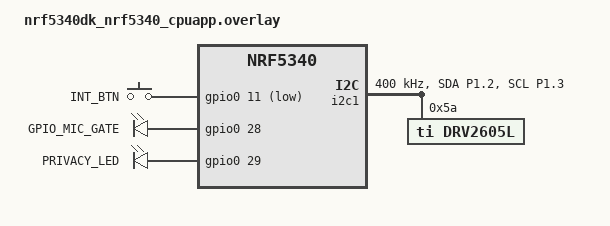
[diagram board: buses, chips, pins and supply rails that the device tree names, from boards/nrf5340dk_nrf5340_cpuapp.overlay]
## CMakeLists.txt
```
cmake_minimum_required(VERSION 3.20.0)

find_package(Zephyr REQUIRED HINTS $ENV{ZEPHYR_BASE})
project(aura_orbit VERSION 1.0.0 LANGUAGES C)

target_sources(app PRIVATE
    src/main.c
    src/ble_orbit_service.c
    src/privacy_gate.c
    src/haptic_driver.c
)

target_include_directories(app PRIVATE
    src
)

zephyr_library_include_directories(
    ${ZEPHYR_BASE}/include
    ${ZEPHYR_BASE}/include/zephyr
)
```

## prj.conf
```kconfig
# ─── Bluetooth ────────────────────────────────────────────────────────────────
CONFIG_BT=y
CONFIG_BT_PERIPHERAL=y
CONFIG_BT_DEVICE_NAME="AURA Orbit"
CONFIG_BT_DEVICE_NAME_DYNAMIC=n
CONFIG_BT_SMP=y
CONFIG_BT_SMP_SC_ONLY=y
CONFIG_BT_BONDABLE=y
CONFIG_BT_PRIVACY=y
CONFIG_BT_RPA_TIMEOUT=900
CONFIG_BT_GATT_DYNAMIC_DB=n
CONFIG_BT_MAX_CONN=1
CONFIG_BT_MAX_PAIRED=4
CONFIG_BT_L2CAP_TX_MTU=185
CONFIG_BT_BUF_ACL_TX_SIZE=201
CONFIG_BT_BUF_ACL_RX_SIZE=201

# ─── GPIO ──────────────────────────────────────────────────────────────────────
CONFIG_GPIO=y

# ─── I2C ──────────────────────────────────────────────────────────────────────
CONFIG_I2C=y

# ─── Power Management ─────────────────────────────────────────────────────────
CONFIG_PM=y
CONFIG_PM_DEVICE=y
CONFIG_PM_DEVICE_RUNTIME=y

# ─── Timers / Workqueues ──────────────────────────────────────────────────────
CONFIG_SYSTEM_WORKQUEUE_STACK_SIZE=4096

# ─── Logging ──────────────────────────────────────────────────────────────────
CONFIG_LOG=y
CONFIG_LOG_DEFAULT_LEVEL=3
CONFIG_LOG_BACKEND_UART=y

# ─── Main stack ───────────────────────────────────────────────────────────────
CONFIG_MAIN_STACK_SIZE=4096

# ─── Assert ───────────────────────────────────────────────────────────────────
CONFIG_ASSERT=y

# ─── NVS (bond storage) ───────────────────────────────────────────────────────
CONFIG_FLASH=y
CONFIG_FLASH_PAGE_LAYOUT=y
CONFIG_FLASH_MAP=y
CONFIG_NVS=y
CONFIG_SETTINGS=y
CONFIG_BT_SETTINGS=y

# ─── Entropy (TRNG for SMP) ───────────────────────────────────────────────────
CONFIG_ENTROPY_GENERATOR=y
CONFIG_TEST_RANDOM_GENERATOR=n
```

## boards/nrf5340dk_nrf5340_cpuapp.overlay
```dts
/*
 * AURA Orbit — nRF5340 DK Application Core board overlay
 *
 * Devicetree overlay for:
 *   - Tactile crescent dome switch (INT_BTN) on P0.11 (active-low, pull-up)
 *   - Microphone P-FET power gate (GPIO_MIC_GATE) on P0.28 (active-high)
 *   - Amber privacy LED ring (PRIVACY_LED) on P0.29 (active-high)
 *   - TI DRV2605L haptic driver on I2C1 @ 0x5A (400 kHz)
 */

/ {
	/*
	 * Aliases let application code reference nodes by stable names
	 * regardless of SoC-internal GPIO numbering.
	 */
	aliases {
		int-btn     = &button_crescent;
		mic-gate    = &mic_power_gate;
		privacy-led = &privacy_led_ring;
		haptic-drv  = &drv2605l;
	};

	/*
	 * Crescent dome button — hardware interrupt, active-low.
	 * GPIO_PULL_UP: internal pull-up so the line sits HIGH at rest.
	 */
	buttons {
		compatible = "gpio-keys";

		button_crescent: button_0 {
			label       = "INT_BTN";
			gpios       = <&gpio0 11 (GPIO_ACTIVE_LOW | GPIO_PULL_UP)>;
		};
	};

	/*
	 * Microphone P-FET power gate.
	 * Driving this pin HIGH enables the FET (powers the microphone).
	 * Default state: LOW (microphone off, privacy-safe boot).
	 */
	mic-power-gate {
		compatible = "gpio-leds";

		mic_power_gate: mic_gate_0 {
			label  = "GPIO_MIC_GATE";
			gpios  = <&gpio0 28 GPIO_ACTIVE_HIGH>;
		};
	};

	/*
	 * Amber privacy LED ring.
	 * Lit whenever the microphone gate is open.
	 */
	privacy-led {
		compatible = "gpio-leds";

		privacy_led_ring: led_0 {
			label  = "PRIVACY_LED";
			gpios  = <&gpio0 29 GPIO_ACTIVE_HIGH>;
		};
	};
};

/*
 * I2C1 bus — DRV2605L haptic driver at 400 kHz.
 *
 * On the nRF5340 DK:
 *   SDA → P1.02
 *   SCL → P1.03
 *
 * Adjust sda-pin / scl-pin for the production PCB if different.
 */
&i2c1 {
	compatible = "nordic,nrf-twim";
	status     = "okay";
	clock-frequency = <I2C_BITRATE_FAST>;   /* 400 kHz */

	pinctrl-0  = <&i2c1_default>;
	pinctrl-names = "default";

	drv2605l: drv2605l@5a {
		compatible = "ti,drv2605l";
		reg        = <0x5a>;
		label      = "DRV2605L";
	};
};

/*
 * Pin-control block — maps I2C1 signals to physical pads.
 */
&pinctrl {
	i2c1_default: i2c1_default {
		group1 {
			psels = <NRF_PSEL(TWIM_SDA, 1, 2)>,
			        <NRF_PSEL(TWIM_SCL, 1, 3)>;
		};
	};
};
```

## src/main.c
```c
/**
 * @file main.c
 * @brief AURA Orbit — system entry point
 *
 * Responsibilities:
 *   1. Initialise all subsystems (privacy gate, haptic driver, BLE service).
 *   2. Start BLE advertising with the Orbit service UUID in the AD payload.
 *   3. Run the tactile crescent button state machine:
 *        - Single click (< 400 ms hold, no prior click within 300 ms)
 *              → CMD_ACK: acknowledge / dismiss current notification.
 *        - Double click (second press within 300 ms of first release)
 *              → CMD_DISTRACTED (0x03): log distraction over BLE.
 *        - Long press (≥ 2000 ms hold)
 *              → CMD_FOCUS_START (0x01) + HAPTIC_EFFECT_FOCUS_START
 *                + open privacy gate.
 *   4. Handle incoming BLE focus commands from the mobile app.
 *   5. Handle incoming BLE notification packets (haptic playback).
 *   6. Put the CPU into low-power sleep between events.
 */

#include <zephyr/kernel.h>
#include <zephyr/device.h>
#include <zephyr/drivers/gpio.h>
#include <zephyr/bluetooth/bluetooth.h>
#include <zephyr/bluetooth/hci.h>
#include <zephyr/bluetooth/conn.h>
#include <zephyr/bluetooth/uuid.h>
#include <zephyr/pm/pm.h>
#include <zephyr/logging/log.h>

#include "ble_orbit_service.h"
#include "privacy_gate.h"
#include "haptic_driver.h"

LOG_MODULE_REGISTER(main, LOG_LEVEL_INF);

/* ─── Button GPIO ─────────────────────────────────────────────────────────────── */

#define BTN_NODE DT_ALIAS(int_btn)
static const struct gpio_dt_spec s_btn = GPIO_DT_SPEC_GET(BTN_NODE, gpios);
static struct gpio_callback       s_btn_cb_data;

/* ─── Button state machine ───────────────────────────────────────────────────── */

/*
 * Timing constants (milliseconds)
 *   LONG_PRESS_MS         — hold time required to trigger CMD_FOCUS_START
 *   DOUBLE_CLICK_MS       — maximum inter-click gap to count as a double-click
 *   DEBOUNCE_MS           — debounce window; ignore edges within this window
 *   BTN_ISR_FLOOD_LIMIT   — maximum ISR invocations allowed within
 *                           BTN_ISR_FLOOD_WINDOW_MS before the interrupt
 *                           handler is silenced (switch bounce / attack guard)
 *   BTN_ISR_FLOOD_WINDOW_MS — rolling window for the flood counter (ms)
 */
#define LONG_PRESS_MS           2000U
#define DOUBLE_CLICK_MS          300U
#define DEBOUNCE_MS               20U
#define BTN_ISR_FLOOD_LIMIT        8U   /* max edges per window                */
#define BTN_ISR_FLOOD_WINDOW_MS  200U   /* rolling window length (ms)          */

typedef enum {
    BTN_STATE_IDLE = 0,
    BTN_STATE_PRESSED,       /* Button is held down                          */
    BTN_STATE_FIRST_RELEASE, /* Waiting to see if a second press follows     */
} btn_state_t;

static volatile btn_state_t s_btn_state         = BTN_STATE_IDLE;
static int64_t              s_press_start_ms     = 0;
static int64_t              s_first_release_ms   = 0;
static bool                 s_long_press_handled = false;

/* ── ISR flood / bounce guard ──────────────────────────────────────────────
 * Tracks the number of GPIO edge interrupts inside a rolling window of
 * BTN_ISR_FLOOD_WINDOW_MS milliseconds.  If the count exceeds
 * BTN_ISR_FLOOD_LIMIT the interrupt handler discards additional edges until
 * the window has expired.  This prevents a malfunctioning or deliberately
 * chattering switch from spinning the CPU or injecting spurious commands.
 */
static int64_t s_flood_window_start_ms = 0;
static uint8_t s_flood_edge_count      = 0U;

/* Forward declarations */
static void btn_pressed_handler(const struct device *dev,
                                struct gpio_callback *cb, uint32_t pins);
static void long_press_work_handler(struct k_work *work);
static void double_click_expire_work_handler(struct k_work *work);

K_WORK_DELAYABLE_DEFINE(s_long_press_work,        long_press_work_handler);
K_WORK_DELAYABLE_DEFINE(s_double_click_expire_work, double_click_expire_work_handler);

/* ─── BLE advertising payload ────────────────────────────────────────────────── */

/*
 * Advertise with:
 *   - Flags (LE General Discoverable, BR/EDR not supported)
 *   - 128-bit service UUID so iOS/Android can filter by UUID before connecting
 *   - Device name in the scan response (keeps the AD payload compact)
 */
#define ORBIT_SVC_UUID_VAL \
    BT_UUID_128_ENCODE(0x12345678, 0x1234, 0x5678, 0x1234, 0x56789ABCDEF0)

static const struct bt_data s_ad[] = {
    BT_DATA_BYTES(BT_DATA_FLAGS, (BT_LE_AD_GENERAL | BT_LE_AD_NO_BREDR)),
    BT_DATA_BYTES(BT_DATA_UUID128_ALL, ORBIT_SVC_UUID_VAL),
};

static const struct bt_data s_sd[] = {
    BT_DATA(BT_DATA_NAME_COMPLETE,
            CONFIG_BT_DEVICE_NAME,
            sizeof(CONFIG_BT_DEVICE_NAME) - 1),
};

/* ─── Focus state ────────────────────────────────────────────────────────────── */

static bool s_focus_active = false;

/* ─── Privacy gate event handler ─────────────────────────────────────────────── */

static void on_privacy_gate_event(privacy_gate_evt_t evt)
{
    if (evt == PRIVACY_GATE_EVT_TIMEOUT) {
        LOG_WRN("Privacy auto-cutoff — notifying mobile app");
        /* Notify the mobile app so it can stop the session cleanly */
        (void)ble_orbit_notify_focus(EVT_SAFETY_TIMEOUT);
        s_focus_active = false;
    }
}

/* ─── BLE focus command handler (from mobile app) ────────────────────────────── */

static void on_focus_cmd(uint8_t command)
{
    LOG_INF("focus cmd: 0x%02x", command);

    switch (command) {
    case CMD_FOCUS_START:
        s_focus_active = true;
        (void)privacy_gate_open();
        (void)haptic_play(HAPTIC_EFFECT_FOCUS_START);
        break;

    case CMD_FOCUS_STOP:
        s_focus_active = false;
        (void)privacy_gate_close();
        (void)haptic_play(HAPTIC_EFFECT_ACK);
        break;

    case CMD_DISTRACTED:
        (void)haptic_play(HAPTIC_EFFECT_NUDGE);
        break;

    case CMD_UNDO:
        (void)haptic_play(HAPTIC_EFFECT_ACK);
        break;

    default:
        LOG_WRN("focus cmd: unknown command 0x%02x", command);
        break;
    }
}

/* ─── BLE notification packet handler (from mobile app) ──────────────────────── */

static void on_notif_packet(uint8_t pkt_type, uint8_t haptic_style,
                            const char *label, uint16_t label_len)
{
    ARG_UNUSED(label);
    ARG_UNUSED(label_len);

    haptic_effect_t effect;

    switch (haptic_style) {
    case HAPTIC_STYLE_BRIEF:
        effect = HAPTIC_EFFECT_NUDGE;
        break;
    case HAPTIC_STYLE_SUSTAINED:
        effect = HAPTIC_EFFECT_MEETING;
        break;
    case HAPTIC_STYLE_URGENT:
        effect = HAPTIC_EFFECT_URGENT;
        break;
    default:
        /* Unknown style — use nudge as a safe default */
        effect = HAPTIC_EFFECT_NUDGE;
        break;
    }

    /* Meeting alert overrides style selection for the sustained waveform */
    if (pkt_type == NOTIF_TYPE_MEETING_ALERT) {
        effect = HAPTIC_EFFECT_MEETING;
    }

    (void)haptic_play(effect);
}

/* ─── Button state machine implementation ────────────────────────────────────── */

/**
 * Long-press watchdog — fires LONG_PRESS_MS after button-press if still held.
 */
static void long_press_work_handler(struct k_work *work)
{
    ARG_UNUSED(work);

    /* Verify the button is still physically held */
    if (gpio_pin_get_dt(&s_btn) != 1) {
        return; /* Released before timer fired — not a long press */
    }

    if (s_long_press_handled) {
        return; /* Already dispatched */
    }
    s_long_press_handled = true;

    LOG_INF("Button: LONG PRESS → CMD_FOCUS_START");

    s_focus_active = true;
    (void)privacy_gate_open();
    (void)haptic_play(HAPTIC_EFFECT_FOCUS_START);
    (void)ble_orbit_notify_focus(CMD_FOCUS_START);
}

/**
 * Double-click expiry — fires DOUBLE_CLICK_MS after first release if no second
 * press has arrived, promoting the first click to a single-click.
 */
static void double_click_expire_work_handler(struct k_work *work)
{
    ARG_UNUSED(work);

    if (s_btn_state != BTN_STATE_FIRST_RELEASE) {
        return;
    }

    LOG_INF("Button: SINGLE CLICK → ACK/dismiss");
    s_btn_state = BTN_STATE_IDLE;

    /* Acknowledge notification — brief haptic feedback */
    (void)haptic_play(HAPTIC_EFFECT_ACK);
    /* No BLE notification for a simple dismiss; the mobile app drives focus state */
}

/**
 * GPIO interrupt handler — called on both edges (press and release).
 */
static void btn_pressed_handler(const struct device *dev,
                                struct gpio_callback *cb, uint32_t pins)
{
    ARG_UNUSED(dev);
    ARG_UNUSED(cb);
    ARG_UNUSED(pins);

    int level = gpio_pin_get_dt(&s_btn);
    int64_t now = k_uptime_get();

    /* ── Flood / bounce guard ───────────────────────────────────────────── */
    if ((now - s_flood_window_start_ms) >= (int64_t)BTN_ISR_FLOOD_WINDOW_MS) {
        /* Start a fresh rolling window. */
        s_flood_window_start_ms = now;
        s_flood_edge_count      = 0U;
    }
    s_flood_edge_count++;
    if (s_flood_edge_count > BTN_ISR_FLOOD_LIMIT) {
        LOG_WRN("btn_isr: edge flood detected (%u edges in %u ms) — edge discarded",
                s_flood_edge_count, BTN_ISR_FLOOD_WINDOW_MS);
        return;
    }

    if (level == 1) {
        /* ── PRESS ─────────────────────────────────────────────────────── */

        /* Debounce: ignore glitches within DEBOUNCE_MS of last release */
        if ((s_btn_state == BTN_STATE_FIRST_RELEASE) &&
            ((now - s_first_release_ms) < (int64_t)DEBOUNCE_MS)) {
            return;
        }
        /* Debounce: ignore double-trigger on press */
        if ((s_btn_state == BTN_STATE_PRESSED) &&
            ((now - s_press_start_ms) < (int64_t)DEBOUNCE_MS)) {
            return;
        }

        if (s_btn_state == BTN_STATE_FIRST_RELEASE) {
            /* ── DOUBLE CLICK detected ─────────────────────────────────── */
            k_work_cancel_delayable(&s_double_click_expire_work);
            s_btn_state = BTN_STATE_IDLE;

            LOG_INF("Button: DOUBLE CLICK → CMD_DISTRACTED");
            (void)haptic_play(HAPTIC_EFFECT_NUDGE);
            (void)ble_orbit_notify_focus(CMD_DISTRACTED);
        } else {
            /* ── First press ───────────────────────────────────────────── */
            s_btn_state          = BTN_STATE_PRESSED;
            s_press_start_ms     = now;
            s_long_press_handled = false;

            /* Arm the long-press watchdog */
            k_work_schedule(&s_long_press_work, K_MSEC(LONG_PRESS_MS));
        }

    } else {
        /* ── RELEASE ───────────────────────────────────────────────────── */

        if (s_btn_state != BTN_STATE_PRESSED) {
            return; /* Spurious release */
        }

        /* Cancel the long-press timer */
        k_work_cancel_delayable(&s_long_press_work);

        int64_t hold_ms = now - s_press_start_ms;
        s_first_release_ms = now;

        if (s_long_press_handled) {
            /* Long press already dispatched — return to idle silently */
            s_btn_state = BTN_STATE_IDLE;
        } else if (hold_ms >= (int64_t)LONG_PRESS_MS) {
            /* Edge case: very precise release exactly at threshold */
            s_btn_state          = BTN_STATE_IDLE;
            s_long_press_handled = true;
            LOG_INF("Button: LONG PRESS (release boundary) → CMD_FOCUS_START");
            s_focus_active = true;
            (void)privacy_gate_open();
            (void)haptic_play(HAPTIC_EFFECT_FOCUS_START);
            (void)ble_orbit_notify_focus(CMD_FOCUS_START);
        } else {
            /* Short press — wait for potential double-click */
            s_btn_state = BTN_STATE_FIRST_RELEASE;
            k_work_schedule(&s_double_click_expire_work, K_MSEC(DOUBLE_CLICK_MS));
        }
    }
}

/* ─── BLE advertising start ──────────────────────────────────────────────────── */

static void start_advertising(void)
{
    int ret = bt_le_adv_start(
        BT_LE_ADV_CONN,
        s_ad, ARRAY_SIZE(s_ad),
        s_sd, ARRAY_SIZE(s_sd)
    );
    if (ret && ret != -EALREADY) {
        LOG_ERR("Advertising start failed: %d", ret);
    } else {
        LOG_INF("BLE advertising started");
    }
}

/* Re-start advertising after disconnection */
static void on_bt_disconnected_adv(struct bt_conn *conn, uint8_t reason)
{
    ARG_UNUSED(conn);
    ARG_UNUSED(reason);
    start_advertising();
}

BT_CONN_CB_DEFINE(main_conn_cb) = {
    .disconnected = on_bt_disconnected_adv,
};

/* ─── Pairing / authentication callbacks ──────────────────────────────────────── */

static void auth_passkey_display(struct bt_conn *conn, unsigned int passkey)
{
    ARG_UNUSED(conn);
    LOG_INF("Passkey: %06u", passkey);
}

static void auth_cancel(struct bt_conn *conn)
{
    ARG_UNUSED(conn);
    LOG_WRN("Pairing cancelled");
}

static const struct bt_conn_auth_cb s_auth_cb = {
    .passkey_display = auth_passkey_display,
    .cancel          = auth_cancel,
};

/* ─── main() ─────────────────────────────────────────────────────────────────── */

int main(void)
{
    int ret;

    LOG_INF("AURA Orbit booting...");

    /* 1. Privacy gate — must come first; boots with mic OFF */
    ret = privacy_gate_init(on_privacy_gate_event);
    if (ret) {
        LOG_ERR("privacy_gate_init failed: %d", ret);
        return ret;
    }

    /* 2. Haptic driver */
    ret = haptic_driver_init();
    if (ret) {
        LOG_ERR("haptic_driver_init failed: %d", ret);
        return ret;
    }

    /* 3. Button GPIO — configure interrupt on both edges */
    if (!gpio_is_ready_dt(&s_btn)) {
        LOG_ERR("Button GPIO not ready");
        return -ENODEV;
    }
    ret = gpio_pin_configure_dt(&s_btn, GPIO_INPUT);
    if (ret) {
        LOG_ERR("Button configure failed: %d", ret);
        return ret;
    }
    ret = gpio_pin_interrupt_configure_dt(&s_btn, GPIO_INT_EDGE_BOTH);
    if (ret) {
        LOG_ERR("Button interrupt configure failed: %d", ret);
        return ret;
    }
    gpio_init_callback(&s_btn_cb_data, btn_pressed_handler, BIT(s_btn.pin));
    gpio_add_callback(s_btn.port, &s_btn_cb_data);
    LOG_INF("Button GPIO configured");

    /* 4. Bluetooth */
    ret = bt_enable(NULL);
    if (ret) {
        LOG_ERR("bt_enable failed: %d", ret);
        return ret;
    }

    ret = bt_conn_auth_cb_register(&s_auth_cb);
    if (ret) {
        LOG_ERR("bt_conn_auth_cb_register failed: %d", ret);
        return ret;
    }

    /* 5. GATT Orbit service */
    ret = ble_orbit_service_init(on_focus_cmd, on_notif_packet);
    if (ret) {
        LOG_ERR("ble_orbit_service_init failed: %d", ret);
        return ret;
    }

    /* 6. Start advertising */
    start_advertising();

    /* 7. Boot haptic — single ACK pulse to confirm successful init */
    (void)haptic_play(HAPTIC_EFFECT_ACK);

    LOG_INF("AURA Orbit ready");

    /*
     * Main loop — all work is event-driven via GPIO interrupts and BLE
     * callbacks submitted to the system workqueue.  Put the CPU to sleep
     * between events using Zephyr's power management idle entry.
     */
    while (1) {
        k_sleep(K_FOREVER);
    }

    return 0;
}
```

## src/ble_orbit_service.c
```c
/**
 * @file ble_orbit_service.c
 * @brief AURA Orbit custom GATT service implementation
 *
 * Service UUID:  12345678-1234-5678-1234-56789ABCDEF0
 * FOCUS_CHAR:    12345678-1234-5678-1234-56789ABCDEF1  (Read | Notify | Write)
 * NOTIF_CHAR:    12345678-1234-5678-1234-56789ABCDEF2  (WriteWithoutResponse)
 * BATTERY_CHAR:  12345678-1234-5678-1234-56789ABCDEF3  (Read | Notify)
 */

#include "ble_orbit_service.h"

#include <zephyr/kernel.h>
#include <zephyr/bluetooth/bluetooth.h>
#include <zephyr/bluetooth/hci.h>
#include <zephyr/bluetooth/conn.h>
#include <zephyr/bluetooth/uuid.h>
#include <zephyr/bluetooth/gatt.h>
#include <zephyr/logging/log.h>
#include <string.h>

LOG_MODULE_REGISTER(ble_orbit, LOG_LEVEL_INF);

/* ─── 128-bit UUIDs ─────────────────────────────────────────────────────────── */
/*
 * BT_UUID_128_ENCODE takes the five UUID fields in MSB-first order and produces
 * a little-endian byte array as required by bt_uuid_128.
 *
 * Service:   12345678-1234-5678-1234-56789ABCDEF0
 * Focus:     12345678-1234-5678-1234-56789ABCDEF1
 * Notif:     12345678-1234-5678-1234-56789ABCDEF2
 * Battery:   12345678-1234-5678-1234-56789ABCDEF3
 */
#define ORBIT_SVC_UUID_VAL \
    BT_UUID_128_ENCODE(0x12345678, 0x1234, 0x5678, 0x1234, 0x56789ABCDEF0)

#define ORBIT_FOCUS_UUID_VAL \
    BT_UUID_128_ENCODE(0x12345678, 0x1234, 0x5678, 0x1234, 0x56789ABCDEF1)

#define ORBIT_NOTIF_UUID_VAL \
    BT_UUID_128_ENCODE(0x12345678, 0x1234, 0x5678, 0x1234, 0x56789ABCDEF2)

#define ORBIT_BATTERY_UUID_VAL \
    BT_UUID_128_ENCODE(0x12345678, 0x1234, 0x5678, 0x1234, 0x56789ABCDEF3)

static struct bt_uuid_128 orbit_svc_uuid     = BT_UUID_INIT_128(ORBIT_SVC_UUID_VAL);
static struct bt_uuid_128 orbit_focus_uuid   = BT_UUID_INIT_128(ORBIT_FOCUS_UUID_VAL);
static struct bt_uuid_128 orbit_notif_uuid   = BT_UUID_INIT_128(ORBIT_NOTIF_UUID_VAL);
static struct bt_uuid_128 orbit_battery_uuid = BT_UUID_INIT_128(ORBIT_BATTERY_UUID_VAL);

/* ─── State ─────────────────────────────────────────────────────────────────── */

static orbit_focus_cmd_cb_t s_focus_cb;
static orbit_notif_cb_t     s_notif_cb;

/* Latest values kept in-memory for Read responses */
static uint8_t s_focus_value   = CMD_FOCUS_STOP;   /* last known focus state    */
static uint8_t s_battery_level = 100U;             /* 0–100                     */

/* GATT notification subscription tracking */
static bool s_focus_subscribed   = false;
static bool s_battery_subscribed = false;

/* Active connection handle (single-peripheral, one central) */
static struct bt_conn *s_conn = NULL;

/* ─── GATT read handlers ─────────────────────────────────────────────────────── */

static ssize_t on_focus_read(struct bt_conn *conn,
                             const struct bt_gatt_attr *attr,
                             void *buf, uint16_t len, uint16_t offset)
{
    ARG_UNUSED(conn);
    ARG_UNUSED(attr);
    return bt_gatt_attr_read(conn, attr, buf, len, offset,
                             &s_focus_value, sizeof(s_focus_value));
}

static ssize_t on_battery_read(struct bt_conn *conn,
                               const struct bt_gatt_attr *attr,
                               void *buf, uint16_t len, uint16_t offset)
{
    ARG_UNUSED(conn);
    ARG_UNUSED(attr);
    return bt_gatt_attr_read(conn, attr, buf, len, offset,
                             &s_battery_level, sizeof(s_battery_level));
}

/* ─── GATT write handlers ────────────────────────────────────────────────────── */

/**
 * FOCUS_CHAR write — mobile app sends CMD_FOCUS_START / CMD_FOCUS_STOP / etc.
 */
static ssize_t on_focus_write(struct bt_conn *conn,
                              const struct bt_gatt_attr *attr,
                              const void *buf, uint16_t len,
                              uint16_t offset, uint8_t flags)
{
    ARG_UNUSED(conn);
    ARG_UNUSED(attr);
    ARG_UNUSED(flags);

    if (offset != 0 || len < 1) {
        LOG_WRN("focus_write: bad offset=%u len=%u", offset, len);
        return BT_GATT_ERR(BT_ATT_ERR_INVALID_OFFSET);
    }

    const uint8_t *data = buf;
    uint8_t cmd = data[0];

    LOG_INF("focus_write: cmd=0x%02x", cmd);
    s_focus_value = cmd;

    if (s_focus_cb != NULL) {
        s_focus_cb(cmd);
    }

    return (ssize_t)len;
}

/**
 * NOTIF_CHAR write-without-response — mobile app pushes notification packets.
 * Packet layout: [0]=pkt_type [1]=haptic_style [2-3]=payload_len(LE) [4..n]=label
 */
static ssize_t on_notif_write(struct bt_conn *conn,
                              const struct bt_gatt_attr *attr,
                              const void *buf, uint16_t len,
                              uint16_t offset, uint8_t flags)
{
    ARG_UNUSED(conn);
    ARG_UNUSED(attr);
    ARG_UNUSED(flags);

    /*
     * Hard reject any packet that does not fit within the strict wire bounds.
     * Both checks are performed BEFORE any field access so that a malformed or
     * oversized packet from an untrusted BLE central cannot cause an out-of-
     * bounds read or a label-buffer overflow in this handler.
     *
     * Invariants enforced:
     *   1. len >= NOTIF_OFF_LABEL   — packet carries all header fields.
     *   2. len <= NOTIF_PKT_MAX_SIZE — packet never exceeds max label size.
     *   3. payload_len_field strictly bounded to [0, NOTIF_MAX_LABEL_BYTES]
     *      using the minimum of the wire-declared length, the actually-arrived
     *      label bytes, and the compiled constant — in that order.
     *   4. memcpy destination is label[NOTIF_MAX_LABEL_BYTES+1]: the index
     *      payload_len can never exceed NOTIF_MAX_LABEL_BYTES, so the
     *      null-terminator write at label[payload_len] is always within bounds.
     */
    if (offset != 0 || len < NOTIF_OFF_LABEL) {
        LOG_WRN("notif_write: packet too short: %u bytes", len);
        return (ssize_t)len; /* WriteWithoutResponse — ignore silently */
    }

    if (len > NOTIF_PKT_MAX_SIZE) {
        LOG_WRN("notif_write: packet too large: %u bytes (max %u)",
                len, NOTIF_PKT_MAX_SIZE);
        return (ssize_t)len;
    }

    const uint8_t *pkt     = buf;
    uint8_t  pkt_type      = pkt[NOTIF_OFF_PKT_TYPE];
    uint8_t  haptic_style  = pkt[NOTIF_OFF_HAPTIC_STYL];

    /*
     * Read the wire-declared payload length from the two-byte LE field.
     * Then clamp it to the minimum of:
     *   (a) the number of label bytes that actually arrived in this ATT PDU,
     *   (b) the compiled maximum label constant NOTIF_MAX_LABEL_BYTES.
     * This triple-clamp prevents a crafted length field from causing a
     * read beyond the received buffer or an overflow of the label array.
     */
    uint16_t payload_len_field = (uint16_t)pkt[NOTIF_OFF_PAYLOAD_LEN] |
                                 ((uint16_t)pkt[NOTIF_OFF_PAYLOAD_LEN + 1U] << 8U);

    uint16_t actual_label_len = (uint16_t)(len - NOTIF_OFF_LABEL);

    /* Step 1: clamp wire-declared length to what actually arrived. */
    uint16_t payload_len = (payload_len_field < actual_label_len)
                            ? payload_len_field : actual_label_len;

    /* Step 2: hard-cap to the compiled constant — prevents any future path
     * where NOTIF_MAX_LABEL_BYTES changes independently of this function. */
    if (payload_len > NOTIF_MAX_LABEL_BYTES) {
        payload_len = NOTIF_MAX_LABEL_BYTES;
    }

    /* Build null-terminated label for the callback.
     * payload_len <= NOTIF_MAX_LABEL_BYTES, so label[payload_len] is valid. */
    char label[NOTIF_MAX_LABEL_BYTES + 1U];
    memcpy(label, &pkt[NOTIF_OFF_LABEL], payload_len);
    label[payload_len] = '\0';

    LOG_INF("notif_write: type=0x%02x style=0x%02x label='%s'",
            pkt_type, haptic_style, label);

    if (s_notif_cb != NULL) {
        s_notif_cb(pkt_type, haptic_style, label, payload_len);
    }

    return (ssize_t)len;
}

/* ─── CCC changed (subscription tracking) ───────────────────────────────────── */

static void on_focus_ccc_changed(const struct bt_gatt_attr *attr, uint16_t value)
{
    ARG_UNUSED(attr);
    s_focus_subscribed = (value == BT_GATT_CCC_NOTIFY);
    LOG_INF("focus notify %s", s_focus_subscribed ? "enabled" : "disabled");
}

static void on_battery_ccc_changed(const struct bt_gatt_attr *attr, uint16_t value)
{
    ARG_UNUSED(attr);
    s_battery_subscribed = (value == BT_GATT_CCC_NOTIFY);
    LOG_INF("battery notify %s", s_battery_subscribed ? "enabled" : "disabled");
}

/* ─── GATT service definition ────────────────────────────────────────────────── */

BT_GATT_SERVICE_DEFINE(orbit_svc,
    /* Primary service declaration */
    BT_GATT_PRIMARY_SERVICE(&orbit_svc_uuid),

    /* FOCUS_CHAR — Read | Notify | Write */
    BT_GATT_CHARACTERISTIC(&orbit_focus_uuid.uuid,
                           BT_GATT_CHRC_READ | BT_GATT_CHRC_NOTIFY | BT_GATT_CHRC_WRITE,
                           BT_GATT_PERM_READ | BT_GATT_PERM_WRITE,
                           on_focus_read, on_focus_write, NULL),
    BT_GATT_CCC(on_focus_ccc_changed,
                BT_GATT_PERM_READ | BT_GATT_PERM_WRITE),

    /* NOTIF_CHAR — WriteWithoutResponse */
    BT_GATT_CHARACTERISTIC(&orbit_notif_uuid.uuid,
                           BT_GATT_CHRC_WRITE_WITHOUT_RESP,
                           BT_GATT_PERM_WRITE,
                           NULL, on_notif_write, NULL),

    /* BATTERY_CHAR — Read | Notify */
    BT_GATT_CHARACTERISTIC(&orbit_battery_uuid.uuid,
                           BT_GATT_CHRC_READ | BT_GATT_CHRC_NOTIFY,
                           BT_GATT_PERM_READ,
                           on_battery_read, NULL, NULL),
    BT_GATT_CCC(on_battery_ccc_changed,
                BT_GATT_PERM_READ | BT_GATT_PERM_WRITE),
);

/* ─── Connection callbacks (track active conn for notifications) ─────────────── */

static void on_connected(struct bt_conn *conn, uint8_t err)
{
    if (err) {
        LOG_ERR("BLE connect failed: %u", err);
        return;
    }
    s_conn = bt_conn_ref(conn);
    s_focus_subscribed   = false;
    s_battery_subscribed = false;
    LOG_INF("BLE connected");
}

static void on_disconnected(struct bt_conn *conn, uint8_t reason)
{
    ARG_UNUSED(reason);
    if (s_conn == conn) {
        bt_conn_unref(s_conn);
        s_conn               = NULL;
        s_focus_subscribed   = false;
        s_battery_subscribed = false;
    }
    LOG_INF("BLE disconnected (reason 0x%02x)", reason);
}

static void on_security_changed(struct bt_conn *conn, bt_security_t level,
                                enum bt_security_err err)
{
    ARG_UNUSED(conn);
    if (err) {
        LOG_ERR("Security update failed: level %u err %d", (unsigned)level, err);
    } else {
        LOG_INF("Security level: %u", (unsigned)level);
    }
}

BT_CONN_CB_DEFINE(orbit_conn_cb) = {
    .connected        = on_connected,
    .disconnected     = on_disconnected,
    .security_changed = on_security_changed,
};

/* ─── Public API ─────────────────────────────────────────────────────────────── */

int ble_orbit_service_init(orbit_focus_cmd_cb_t focus_cb,
                           orbit_notif_cb_t     notif_cb)
{
    s_focus_cb   = focus_cb;
    s_notif_cb   = notif_cb;
    s_focus_value   = CMD_FOCUS_STOP;
    s_battery_level = 100U;
    LOG_INF("Orbit BLE service initialised");
    return 0;
}

int ble_orbit_notify_focus(uint8_t command)
{
    if (!s_focus_subscribed || s_conn == NULL) {
        return -ENOTCONN;
    }

    s_focus_value = command;

    /* Locate the FOCUS_CHAR value attribute (index 1 in the service table) */
    const struct bt_gatt_attr *attr = &orbit_svc.attrs[2]; /* value attr after decl */
    int ret = bt_gatt_notify(s_conn, attr, &command, sizeof(command));
    if (ret) {
        LOG_ERR("focus notify failed: %d", ret);
    }
    return ret;
}

int ble_orbit_set_battery_level(uint8_t level)
{
    s_battery_level = MIN(level, 100U);

    if (!s_battery_subscribed || s_conn == NULL) {
        return -ENOTCONN;
    }

    /* Battery value attr is at index 7 (after svc decl, 2×focus attrs+CCC, notif, bat decl) */
    const struct bt_gatt_attr *attr = &orbit_svc.attrs[8];
    int ret = bt_gatt_notify(s_conn, attr, &s_battery_level, sizeof(s_battery_level));
    if (ret) {
        LOG_ERR("battery notify failed: %d", ret);
    }
    return ret;
}
```

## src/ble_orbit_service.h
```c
/**
 * @file ble_orbit_service.h
 * @brief AURA Orbit custom GATT service — public API
 *
 * Exposes the three AURA Orbit characteristics over BLE 5.4 Secure Connections:
 *
 *   FOCUS_CHAR    (Read | Notify | Write)      — focus state + button commands
 *   NOTIF_CHAR    (WriteWithoutResponse)        — inbound haptic notification packets
 *   BATTERY_CHAR  (Read | Notify)              — battery level 0–100
 *
 * UUID base: 12345678-1234-5678-1234-56789ABCDEF0
 */

#ifndef BLE_ORBIT_SERVICE_H
#define BLE_ORBIT_SERVICE_H

#include <zephyr/kernel.h>
#include <zephyr/bluetooth/bluetooth.h>
#include <zephyr/bluetooth/gatt.h>
#include <stdint.h>
#include <stdbool.h>

#ifdef __cplusplus
extern "C" {
#endif

/* ─── Wire constants — must stay in sync with mobile/src/services/BLEService.ts ─ */

/** Commands written by the mobile app to FOCUS_CHAR, or notified by Orbit. */
#define CMD_FOCUS_START    0x01U
#define CMD_FOCUS_STOP     0x02U
#define CMD_DISTRACTED     0x03U
#define CMD_UNDO           0x04U
#define EVT_SAFETY_TIMEOUT 0x10U

/** Notification packet offsets (NOTIF_CHAR write-without-response payload). */
#define NOTIF_OFF_PKT_TYPE    0U
#define NOTIF_OFF_HAPTIC_STYL 1U
#define NOTIF_OFF_PAYLOAD_LEN 2U   /* uint16 LE */
#define NOTIF_OFF_LABEL       4U
#define NOTIF_MAX_LABEL_BYTES 28U
#define NOTIF_PKT_MAX_SIZE    (NOTIF_OFF_LABEL + NOTIF_MAX_LABEL_BYTES)

/** Packet types */
#define NOTIF_TYPE_MEETING_ALERT 0x01U
#define NOTIF_TYPE_NUDGE         0x02U
#define NOTIF_TYPE_GENERIC       0x03U

/** Haptic style codes */
#define HAPTIC_STYLE_BRIEF     0x01U
#define HAPTIC_STYLE_SUSTAINED 0x02U
#define HAPTIC_STYLE_URGENT    0x03U

/* ─── Callback types ────────────────────────────────────────────────────────── */

/**
 * @brief Called when the mobile app writes a focus command to FOCUS_CHAR.
 *
 * @param command  One of CMD_FOCUS_START, CMD_FOCUS_STOP, CMD_DISTRACTED, CMD_UNDO.
 */
typedef void (*orbit_focus_cmd_cb_t)(uint8_t command);

/**
 * @brief Called when a valid notification packet is received on NOTIF_CHAR.
 *
 * @param pkt_type     Packet type (NOTIF_TYPE_*).
 * @param haptic_style Haptic style (HAPTIC_STYLE_*).
 * @param label        Null-terminated UTF-8 label (max NOTIF_MAX_LABEL_BYTES).
 * @param label_len    Number of valid bytes in @p label.
 */
typedef void (*orbit_notif_cb_t)(uint8_t pkt_type, uint8_t haptic_style,
                                 const char *label, uint16_t label_len);

/* ─── Public API ────────────────────────────────────────────────────────────── */

/**
 * @brief Initialise the Orbit GATT service and register application callbacks.
 *
 * Must be called once before BLE advertising starts.
 *
 * @param focus_cb  Callback invoked on FOCUS_CHAR write (may be NULL).
 * @param notif_cb  Callback invoked on NOTIF_CHAR write (may be NULL).
 * @return 0 on success, negative errno on failure.
 */
int ble_orbit_service_init(orbit_focus_cmd_cb_t focus_cb,
                           orbit_notif_cb_t     notif_cb);

/**
 * @brief Send a focus command notification to the connected mobile app.
 *
 * Triggers a GATT notification on FOCUS_CHAR.  No-op if the central has not
 * subscribed or no connection is active.
 *
 * @param command  One of CMD_FOCUS_START … EVT_SAFETY_TIMEOUT.
 * @return 0 on success, -ENOTCONN if no subscriber, other negative errno.
 */
int ble_orbit_notify_focus(uint8_t command);

/**
 * @brief Update the battery level and optionally notify the connected central.
 *
 * @param level  Battery percentage, clamped to [0, 100].
 * @return 0 on success, -ENOTCONN if no subscriber, other negative errno.
 */
int ble_orbit_set_battery_level(uint8_t level);

#ifdef __cplusplus
}
#endif

#endif /* BLE_ORBIT_SERVICE_H */
```

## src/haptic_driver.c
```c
/**
 * @file haptic_driver.c
 * @brief TI DRV2605L I2C haptic driver implementation
 *
 * Drives a 170 Hz LRA via the DRV2605L ROM waveform library (LRA library = 6).
 *
 * DRV2605L ROM waveforms used (from TI datasheet Table 3, LRA column):
 *   Effect 1  — Strong Click 100% (index  1) — crisp single pulse
 *   Effect 10 — Double Click 100% (index 10) — double pulse
 *   Effect 14 — Triple Click     (index 14) — triple burst
 *   Effect 47 — Long Alert 2     (index 47) — sustained 3-pulse sequence
 *   Effect 56 — Transition Ramp Up Long     — ramp confirmation
 *   Effect 58 — Short Buzz 100%  (index 58) — soft nudge
 *
 * All sequences terminate with DRV2605L_WAVESEQ_STOP (0x00) in the next slot.
 */

#include "haptic_driver.h"

#include <zephyr/kernel.h>
#include <zephyr/device.h>
#include <zephyr/drivers/i2c.h>
#include <zephyr/logging/log.h>

LOG_MODULE_REGISTER(haptic_drv, LOG_LEVEL_INF);

/* ─── I2C device binding ─────────────────────────────────────────────────────── */

#define DRV2605L_I2C_NODE DT_ALIAS(haptic_drv)

static const struct i2c_dt_spec s_i2c =
    I2C_DT_SPEC_GET(DRV2605L_I2C_NODE);

/* ─── Low-level I2C helpers ──────────────────────────────────────────────────── */

static int drv_write_reg(uint8_t reg, uint8_t val)
{
    uint8_t buf[2] = { reg, val };
    int ret = i2c_write_dt(&s_i2c, buf, sizeof(buf));
    if (ret) {
        LOG_ERR("drv2605l: write reg 0x%02x = 0x%02x failed: %d", reg, val, ret);
    }
    return ret;
}

static int drv_read_reg(uint8_t reg, uint8_t *out)
{
    int ret = i2c_write_read_dt(&s_i2c, &reg, 1, out, 1);
    if (ret) {
        LOG_ERR("drv2605l: read reg 0x%02x failed: %d", reg, ret);
    }
    return ret;
}

/* ─── Effect waveform table ──────────────────────────────────────────────────── */
/*
 * Each row: up to 8 waveform slots; 0x00 terminates the sequence early.
 * ROM indices are from TI DRV2605L datasheet, Table 3, LRA library (lib=6).
 */

#define SEQ_LEN 8U

typedef struct {
    uint8_t slots[SEQ_LEN]; /* waveform ROM indices, 0x00 = end-of-sequence */
} haptic_seq_t;

static const haptic_seq_t s_effects[] = {
    /* HAPTIC_EFFECT_FOCUS_START — Double Click (10) + brief pause + Strong Click (1) */
    [HAPTIC_EFFECT_FOCUS_START] = { .slots = { 10U, 1U, 0x00 } },

    /* HAPTIC_EFFECT_MEETING — Long Alert 2 (47): internal 3-pulse sustained sequence */
    [HAPTIC_EFFECT_MEETING]     = { .slots = { 47U, 0x00 } },

    /* HAPTIC_EFFECT_NUDGE — Short Buzz 100% (58): soft single tap */
    [HAPTIC_EFFECT_NUDGE]       = { .slots = { 58U, 0x00 } },

    /* HAPTIC_EFFECT_URGENT — Triple Click (14) + Strong Click (1) */
    [HAPTIC_EFFECT_URGENT]      = { .slots = { 14U, 1U, 0x00 } },

    /* HAPTIC_EFFECT_ACK — Strong Click 100% (1): crisp feedback */
    [HAPTIC_EFFECT_ACK]         = { .slots = { 1U, 0x00 } },
};

#define NUM_EFFECTS (sizeof(s_effects) / sizeof(s_effects[0]))

/* ─── Initialisation ─────────────────────────────────────────────────────────── */

int haptic_driver_init(void)
{
    int ret;

    if (!i2c_is_ready_dt(&s_i2c)) {
        LOG_ERR("DRV2605L I2C bus not ready");
        return -ENODEV;
    }

    /* Read STATUS register — verifies I2C comms and that DEV_ID = 0b111 (DRV2605L) */
    uint8_t status = 0U;
    ret = drv_read_reg(DRV2605L_REG_STATUS, &status);
    if (ret) {
        return ret;
    }
    LOG_INF("DRV2605L status=0x%02x", status);

    /* Wake from standby: clear bit 6 in MODE, set to Internal Trigger */
    ret = drv_write_reg(DRV2605L_REG_MODE, DRV2605L_MODE_INTERNAL_TRIG);
    if (ret) {
        return ret;
    }

    /*
     * Select LRA library (0x06).
     * Bits [2:0] = 0b110 → Library F (LRA) in the DRV2605 register map.
     */
    ret = drv_write_reg(DRV2605L_REG_LIBRARY, DRV2605L_LIB_LRA);
    if (ret) {
        return ret;
    }

    /*
     * FEEDBACK register: LRA mode
     * Bit 7 = 1 → LRA (not ERM)
     * Bits [6:4] = 0b011 → BRAKE_FACTOR = 3×
     * Bits [3:2] = 0b01  → LOOP_GAIN = medium
     * Default BEMF_GAIN[1:0] = 0b11
     */
    ret = drv_write_reg(DRV2605L_REG_FEEDBACK, 0xB3U);
    if (ret) {
        return ret;
    }

    /*
     * CONTROL1: drive_time tuned for 170 Hz LRA.
     * drive_time = (1 / (2 * f_LRA)) / 24.39 µs ≈ 12 → 0x0C
     * Bit 7 = 0 (startup boost disabled for LRA)
     */
    ret = drv_write_reg(DRV2605L_REG_CONTROL1, 0x93U); /* AC_COUPLE=1 | DRIVE_TIME=12 */
    if (ret) {
        return ret;
    }

    /*
     * CONTROL3: LRA open-loop disabled, auto-resonance enabled.
     * Bit 0 = 0 → closed-loop (auto-resonance tracking)
     */
    ret = drv_write_reg(DRV2605L_REG_CONTROL3, 0x20U);
    if (ret) {
        return ret;
    }

    LOG_INF("DRV2605L initialised for LRA @ 170 Hz");
    return 0;
}

/* ─── Playback ───────────────────────────────────────────────────────────────── */

int haptic_play(haptic_effect_t effect)
{
    if ((unsigned)effect >= NUM_EFFECTS) {
        LOG_ERR("haptic_play: unknown effect %d", (int)effect);
        return -EINVAL;
    }

    const haptic_seq_t *seq = &s_effects[effect];
    int ret;

    /* Wake from standby if needed — write Internal Trigger mode first */
    ret = drv_write_reg(DRV2605L_REG_MODE, DRV2605L_MODE_INTERNAL_TRIG);
    if (ret) {
        return ret;
    }

    /* Load waveform sequence into WAVESEQ1..WAVESEQ8 */
    for (uint8_t i = 0U; i < SEQ_LEN; i++) {
        ret = drv_write_reg((uint8_t)(DRV2605L_REG_WAVESEQ1 + i), seq->slots[i]);
        if (ret) {
            return ret;
        }
        if (seq->slots[i] == DRV2605L_WAVESEQ_STOP) {
            /* Fill remaining slots with STOP to prevent stale data replaying */
            for (uint8_t j = (uint8_t)(i + 1U); j < SEQ_LEN; j++) {
                (void)drv_write_reg((uint8_t)(DRV2605L_REG_WAVESEQ1 + j),
                                    DRV2605L_WAVESEQ_STOP);
            }
            break;
        }
    }

    /* Set GO bit to start playback */
    ret = drv_write_reg(DRV2605L_REG_GO, DRV2605L_GO);
    if (ret) {
        return ret;
    }

    LOG_INF("haptic_play: effect=%d", (int)effect);
    return 0;
}

int haptic_stop(void)
{
    /* Clear GO bit — chip stops immediately */
    int ret = drv_write_reg(DRV2605L_REG_GO, 0x00U);
    if (ret) {
        LOG_ERR("haptic_stop: failed: %d", ret);
    }
    return ret;
}

int haptic_standby(void)
{
    int ret = drv_write_reg(DRV2605L_REG_MODE, DRV2605L_MODE_STANDBY);
    if (ret) {
        LOG_ERR("haptic_standby: failed: %d", ret);
    } else {
        LOG_DBG("DRV2605L in standby");
    }
    return ret;
}

int haptic_wake(void)
{
    int ret = drv_write_reg(DRV2605L_REG_MODE, DRV2605L_MODE_INTERNAL_TRIG);
    if (ret) {
        LOG_ERR("haptic_wake: failed: %d", ret);
    } else {
        LOG_DBG("DRV2605L awake");
    }
    return ret;
}
```

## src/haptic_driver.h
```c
/**
 * @file haptic_driver.h
 * @brief TI DRV2605L haptic driver — public API
 *
 * Controls the TI DRV2605L I2C haptic driver connected to a 170 Hz Linear
 * Resonant Actuator (LRA).  Exposes three named waveform sequences that map
 * directly onto the AURA notification packet haptic styles:
 *
 *   HAPTIC_EFFECT_FOCUS_START  — firm double-pulse confirming focus session open
 *   HAPTIC_EFFECT_MEETING      — sustained alert sequence for meeting notifications
 *   HAPTIC_EFFECT_NUDGE        — brief single-tap nudge
 *   HAPTIC_EFFECT_URGENT       — rapid triple-pulse for urgent alerts
 *   HAPTIC_EFFECT_ACK          — soft single click for button acknowledge
 *
 * I2C address: 0x5A (DRV2605L default, SDO tied LOW).
 * Bus speed: 400 kHz (configured in the board overlay).
 */

#ifndef HAPTIC_DRIVER_H
#define HAPTIC_DRIVER_H

#include <zephyr/kernel.h>
#include <stdint.h>

#ifdef __cplusplus
extern "C" {
#endif

/* ─── DRV2605L register map (subset required) ───────────────────────────────── */
#define DRV2605L_REG_STATUS       0x00U
#define DRV2605L_REG_MODE         0x01U
#define DRV2605L_REG_RTP          0x02U
#define DRV2605L_REG_LIBRARY      0x03U
#define DRV2605L_REG_WAVESEQ1     0x04U
#define DRV2605L_REG_WAVESEQ2     0x05U
#define DRV2605L_REG_WAVESEQ3     0x06U
#define DRV2605L_REG_WAVESEQ4     0x07U
#define DRV2605L_REG_WAVESEQ5     0x08U
#define DRV2605L_REG_WAVESEQ6     0x09U
#define DRV2605L_REG_WAVESEQ7     0x0AU
#define DRV2605L_REG_WAVESEQ8     0x0BU
#define DRV2605L_REG_GO           0x0CU
#define DRV2605L_REG_CONTROL1     0x1BU
#define DRV2605L_REG_CONTROL3     0x1DU
#define DRV2605L_REG_LRARESON     0x20U  /* LRA resonance period */
#define DRV2605L_REG_FEEDBACK     0x1AU

/* MODE register values */
#define DRV2605L_MODE_INTERNAL_TRIG 0x00U
#define DRV2605L_MODE_PWM_ANALOG    0x02U
#define DRV2605L_MODE_STANDBY       0x40U

/* Library selection: 6 = LRA library */
#define DRV2605L_LIB_LRA          0x06U

/* Waveform sequence end-of-sequence marker */
#define DRV2605L_WAVESEQ_STOP     0x00U

/* GO bit */
#define DRV2605L_GO               0x01U

/* ─── Named haptic effects ──────────────────────────────────────────────────── */

typedef enum {
    HAPTIC_EFFECT_FOCUS_START = 0, /**< Double-pulse — focus session started.  */
    HAPTIC_EFFECT_MEETING,         /**< Sustained 3-pulse — meeting alert.     */
    HAPTIC_EFFECT_NUDGE,           /**< Brief single tap — nudge notification. */
    HAPTIC_EFFECT_URGENT,          /**< Rapid triple-pulse — urgent alert.     */
    HAPTIC_EFFECT_ACK,             /**< Soft click — button acknowledge.       */
} haptic_effect_t;

/* ─── Public API ────────────────────────────────────────────────────────────── */

/**
 * @brief Initialise and configure the DRV2605L for LRA operation.
 *
 * Brings the chip out of standby, selects the LRA library, and configures
 * the internal trigger mode ready for waveform playback.
 *
 * @return 0 on success, negative errno on I2C failure.
 */
int haptic_driver_init(void);

/**
 * @brief Play a named haptic effect.
 *
 * Loads the waveform sequence for @p effect into the DRV2605L WAVESEQ
 * registers and sets the GO bit.  The function returns immediately; the
 * chip plays the sequence autonomously.
 *
 * @param effect  Named effect to play.
 * @return 0 on success, negative errno on I2C failure or unknown effect.
 */
int haptic_play(haptic_effect_t effect);

/**
 * @brief Stop any currently playing waveform immediately.
 *
 * Clears the GO bit and puts the chip back to idle (not standby).
 *
 * @return 0 on success, negative errno on I2C failure.
 */
int haptic_stop(void);

/**
 * @brief Put the DRV2605L into standby mode (lowest power state).
 *
 * @return 0 on success, negative errno on I2C failure.
 */
int haptic_standby(void);

/**
 * @brief Wake the DRV2605L from standby.
 *
 * @return 0 on success, negative errno on I2C failure.
 */
int haptic_wake(void);

#ifdef __cplusplus
}
#endif

#endif /* HAPTIC_DRIVER_H */
```

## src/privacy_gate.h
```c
/**
 * @file privacy_gate.h
 * @brief AURA Orbit hardware privacy interlock — public API
 *
 * Enforces two immutable privacy rules:
 *
 *  1. HARDWARE AUTO-CUTOFF: The microphone P-FET gate is driven LOW automatically
 *     30 seconds after it was opened, regardless of application state.
 *
 *  2. ZERO AMBIENT STORAGE: No audio data is stored when the gate is closed.
 *     The gate may only be opened when an explicit focus session is active.
 *
 * The amber privacy LED ring mirrors the gate state in hardware: ON when the
 * microphone is powered, OFF otherwise.
 */

#ifndef PRIVACY_GATE_H
#define PRIVACY_GATE_H

#include <zephyr/kernel.h>
#include <stdbool.h>
#include <stdint.h>

#ifdef __cplusplus
extern "C" {
#endif

/** Auto-cutoff timeout in milliseconds (30 seconds). */
#define PRIVACY_GATE_TIMEOUT_MS   30000U

/** Reason codes reported to the optional event callback. */
typedef enum {
    PRIVACY_GATE_EVT_OPENED     = 0,  /**< Gate opened — microphone powered on.   */
    PRIVACY_GATE_EVT_CLOSED     = 1,  /**< Gate closed — microphone powered off.  */
    PRIVACY_GATE_EVT_TIMEOUT    = 2,  /**< Gate auto-closed by 30-second watchdog. */
    PRIVACY_GATE_EVT_ERR_GPIO   = 3,  /**< GPIO assertion/de-assertion failed.    */
} privacy_gate_evt_t;

/**
 * @brief Privacy gate event callback.
 *
 * @param evt  Event type.
 */
typedef void (*privacy_gate_cb_t)(privacy_gate_evt_t evt);

/**
 * @brief Initialise the privacy gate subsystem.
 *
 * Configures GPIO_MIC_GATE and PRIVACY_LED as outputs.
 * Drives both LOW (safe default — microphone off, LED off).
 * Registers the 30-second auto-cutoff watchdog timer.
 *
 * @param cb  Optional event callback; may be NULL.
 * @return 0 on success, negative errno on GPIO failure.
 */
int privacy_gate_init(privacy_gate_cb_t cb);

/**
 * @brief Open the microphone gate (power the microphone on).
 *
 * Drives GPIO_MIC_GATE HIGH and lights the amber privacy LED.
 * Resets the 30-second auto-cutoff timer.
 *
 * @return 0 on success, negative errno on GPIO failure.
 */
int privacy_gate_open(void);

/**
 * @brief Close the microphone gate (power the microphone off).
 *
 * Drives GPIO_MIC_GATE LOW and extinguishes the amber privacy LED.
 * Cancels the auto-cutoff timer.
 *
 * @return 0 on success, negative errno on GPIO failure.
 */
int privacy_gate_close(void);

/**
 * @brief Query whether the microphone gate is currently open.
 *
 * @return true if the gate is open (microphone powered), false otherwise.
 */
bool privacy_gate_is_open(void);

#ifdef __cplusplus
}
#endif

#endif /* PRIVACY_GATE_H */
```
